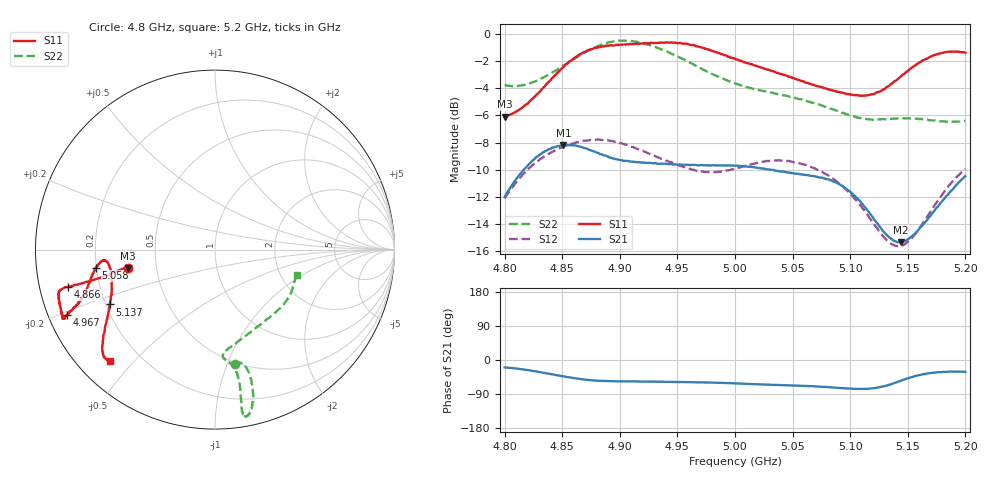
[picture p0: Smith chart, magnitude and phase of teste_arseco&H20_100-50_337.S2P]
! Network Analyzer HP8722D
! Hewlett-Packard
! Data name: Linha & Wilkinson
! Saver's name: Rodrigo Anjos
! Comments: Teste da utilização de aquisição
! continua pelo VNA HP8722D
! Time and date: 6/5/2025 15:22
!  Frequency  S11  S21  S12  S22
# HZ  S  MA R 50
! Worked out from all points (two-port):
!   401 points, 4.8 GHz to 5.2 GHz, reference 50 ohm
!   highest |S21| = -8.17 dB at 4.851 GHz (marker M1); lowest = -15.3 dB at 5.144 GHz (marker M2)
!   |S21| within 3 dB of the highest: 4.806 GHz to 5.093 GHz (286.9 MHz wide, 5.8 % of centre); 5.191665 GHz to end of sweep
!   lowest |S11| = -6.1 dB at 4.8 GHz (marker M3), VSWR 2.97, Z = 17 - j4.61 ohm
!   |S11| at or under -10 dB: nowhere
!   |S22| runs from -6.5 to -0.5 dB; largest |S21 - S12| = 0.62
!   S11 on the Smith chart (normalised r, x): 4.8 GHz: 0.34, -0.09; 4.866 GHz: 0.09, -0.12; 4.967 GHz: 0.06, -0.21; 5.058 GHz: 0.20, -0.07; 5.137 GHz: 0.22, -0.23; 5.2 GHz: 0.09, -0.43
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4.8e9  0.4964 -168.1  0.2517 -19.6  0.2483 -140.8  0.6492 -80.3
4.823e9  0.5704 -167.4  0.3378 -28.0  0.3249 -143.7  0.6606 -76.0
4.851e9  0.7554 -165.8  0.3904 -43.2  0.385 -149.2  0.7647 -74.5
4.866e9  0.8442 -165.8  0.384 -50.2  0.4024 -151.7  0.8375 -75.3
4.867e9  0.8483 -165.8  0.3832 -50.7  0.4029 -151.9  0.8422 -75.3
4.879e9  0.8906 -165.4  0.3674 -54.3  0.4077 -154.0  0.894 -76.6
4.9e9  0.9125 -162.7  0.3443 -56.3  0.3964 -156.5  0.9444 -79.1
4.934e9  0.9281 -156.4  0.3329 -57.4  0.3511 -155.5  0.8847 -80.4
4.967e9  0.8996 -156.2  0.3291 -58.8  0.3132 -147.9  0.7578 -79.6
5e9  0.8116 -159.0  0.3272 -61.8  0.3197 -137.2  0.6584 -81.2
5.035e9  0.7245 -165.2  0.3145 -65.7  0.3424 -134.3  0.6026 -85.7
5.058e9  0.6725 -171.2  0.3045 -68.0  0.3318 -136.0  0.5745 -84.6
5.067e9  0.6508 -172.9  0.3005 -69.1  0.3227 -136.7  0.5586 -82.7
5.083e9  0.6229 -174.5  0.2893 -72.0  0.2977 -138.1  0.531 -76.8
5.101e9  0.598 -172.0  0.2605 -75.7  0.2556 -138.7  0.5011 -66.6
5.116e9  0.5965 -165.5  0.2215 -75.9  0.2128 -135.5  0.485 -55.7
5.134e9  0.6453 -154.3  0.1782 -65.2  0.1708 -120.8  0.4866 -43.3
5.137e9  0.6613 -152.5  0.1743 -62.3  0.1679 -116.9  0.4885 -41.5
5.144e9  0.6983 -148.7  0.171 -54.8  0.1657 -107.6  0.4889 -37.4
5.154e9  0.755 -144.4  0.1806 -44.4  0.1789 -95.1  0.4885 -32.3
5.172e9  0.8329 -139.0  0.2208 -33.4  0.2297 -81.1  0.4798 -24.5
5.2e9  0.8528 -133.6  0.2996 -31.2  0.3188 -76.9  0.4776 -17.5
